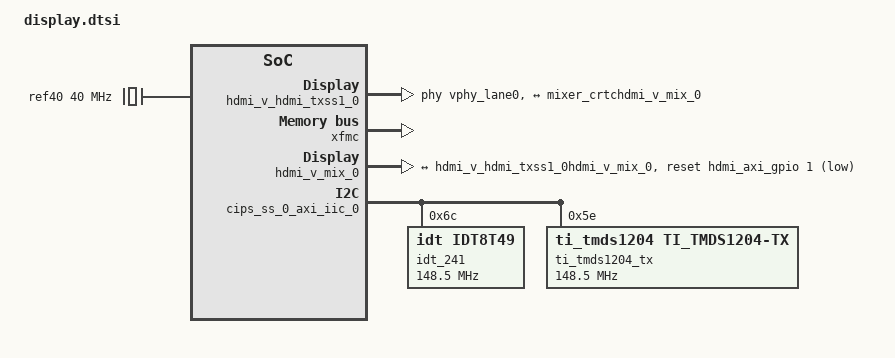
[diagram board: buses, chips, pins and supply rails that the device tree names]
&amba_pl {
	hdmiphy_ss_hdmi_gt_controller_0: hdmi_gt_controller@a4070000 {
		clock-names = "gt_refclk0_odiv2", "gt_refclk1_odiv2", "gt_refclk2_odiv2", "sb_aclk", "axi4lite_aclk", "apb_clk", "vid_phy_axi4lite_aclk", "drpclk", "tmds_clock", "link_clk";
		clocks = <&misc_clk_3>, <&misc_clk_3>, <&misc_clk_4>, <&versal_clk 65>, <&versal_clk 65>, <&versal_clk 65>, <&versal_clk 65>, <&versal_clk 65>, <&idt_241 1>, <&idt_241 1>;
		compatible = "xlnx,v-hdmi-gt-controller-1.0";
		interrupt-names = "irq";
		interrupt-parent = <&gic>;
		interrupts = <0 89 4>;
		reg = <0x0 0xa4070000 0x0 0x10000>;
		xlnx,err-irq-en = <0>;
		xlnx,gt-direction = <0x1>;
		xlnx,hdmi-fast-switch = <0>;
		xlnx,input-pixels-per-clock = <4>;
		xlnx,nidru = <1>;
		xlnx,nidru-refclk-sel = <2>;
		xlnx,hdmi-connector = <&xfmc>;
		xlnx,rx-frl-refclk-sel = <2>;
		xlnx,rx-no-of-channels = <4>;
		xlnx,rx-pll-selection = <8>;
		xlnx,rx-protocol = <2>;
		xlnx,rx-refclk-sel = <0>;
		xlnx,rx-max-gt-line-rate = <0xc>;
		xlnx,tx-max-gt-line-rate = <0xc>;
		xlnx,transceiver-type = <8>;
		xlnx,transceiver-width = <4>;
		xlnx,tx-buffer-bypass = <1>;
		xlnx,tx-frl-refclk-sel = <2>;
		xlnx,tx-no-of-channels = <4>;
		xlnx,tx-pll-selection = <7>;
		xlnx,tx-protocol = <2>;
		xlnx,tx-refclk-sel = <1>;
		xlnx,use-gt-ch4-hdmi = <1>;

		vphy_lane0: vphy_lane@0 {
			#phy-cells = <4>;
		};
		vphy_lane1: vphy_lane@1 {
			#phy-cells = <4>;
		};
		vphy_lane2: vphy_lane@2 {
			#phy-cells = <4>;
		};
		vphy_lane3: vphy_lane@3 {
			#phy-cells = <4>;
		};
	};

	hdmi_v_hdmi_txss1_0: v_hdmi_txss1@a4040000 {
		clock-names = "s_axi_cpu_aclk", "link_clk", "video_clk", "frl_clk", "s_axis_video_aclk";
		clocks = <&versal_clk 65>, <&misc_clk_1>, <&misc_clk_1>, <&misc_clk_2>, <&misc_clk_1>;
		compatible = "xlnx,v-hdmi-txss1-1.2";
		interrupt-names = "irq";
		interrupt-parent = <&gic>;
		interrupts = <0 88 4>;
		reg = <0x0 0xa4040000 0x0 0x20000>;
		xlnx,add-core-dbg = <0x0>;
		xlnx,add-mark-dbg = "false";
		xlnx,addr-width = <0xa>;
		xlnx,dsc-en = <0x0>;
		xlnx,dynamic-hdr = <0x0>;
		xlnx,exdes-axilite-freq = <0x64>;
		xlnx,exdes-nidru = "true";
		xlnx,exdes-rx-pll-selection = <0x0>;
		xlnx,exdes-topology = <0x0>;
		xlnx,exdes-tx-pll-selection = <0x1>;
		xlnx,frl-clk-freq-khz = <0x4f588>;
		xlnx,frl-sm-vcke = <0x0>;
		xlnx,hdmi-fb-enable = "false";
		xlnx,hdmi-version = <0x4>;
		xlnx,hpd-invert = "true";
		xlnx,hysteresis-level = <0x1ff>;
		xlnx,include-hdcp = "false";
		xlnx,include-hdcp-1-4 = "false";
		xlnx,include-hdcp-2-2 = "false";
		xlnx,include-low-reso-vid = "true";
		xlnx,include-yuv420-sup = "true";
		xlnx,input-pixels-per-clock = <0x4>;
		xlnx,max-bits-per-component = <0x8>;
		xlnx,max-frl-rate = <0x4>;
		xlnx,native-exdes-en = <0x0>;
		xlnx,num-of-gt-lane = <0x4>;
		xlnx,smartconnect-enable = "false";
		xlnx,validation-enable = "false";
		xlnx,vid-clk-freq-khz = <0x493e0>;
		xlnx,vid-interface = <0x0>;
		xlnx,video-mask-enable = <0x1>;
		xlnx,vrr-support = <0x1>;
		phy-names = "hdmi-phy0", "hdmi-phy1", "hdmi-phy2", "hdmi-phy3";
		phys = <&vphy_lane0 0 1 1 1>, <&vphy_lane1 0 1 1 1>, <&vphy_lane2 0 1 1 1>, <&vphy_lane3 0 1 1 1>;

		hdmitx_portshdmi_v_hdmi_txss1_0: ports {
			#size-cells = <0>;
			#address-cells = <1>;

			encoder_hdmi_porthdmi_v_hdmi_txss1_0: port@0 {
				reg = <0>;
				hdmi_v_hdmi_txss1_0hdmi_v_mix_0: endpoint {
					remote-endpoint = <&mixer_crtchdmi_v_mix_0>;
				};
			};
		};

		i2c-bus {
		};
	};

	xfmc:xv_fmc {
		compatible = "vfmc";
	};

	hdmi_axi_gpio: gpio@a4100000 {
		#gpio-cells = <2>;
		clock-names = "s_axi_aclk";
		clocks = <&misc_clk_1>;
		compatible = "xlnx,axi-gpio-2.0", "xlnx,xps-gpio-1.00.a";
		gpio-controller ;
		reg = <0x0 0xa4100000 0x0 0x10000>;
		xlnx,all-inputs = <0x0>;
		xlnx,all-inputs-2 = <0x0>;
		xlnx,all-outputs = <0x1>;
		xlnx,all-outputs-2 = <0x0>;
		xlnx,dout-default = <0x00000003>;
		xlnx,dout-default-2 = <0x00000000>;
		xlnx,gpio-width = <0x2>;
		xlnx,gpio2-width = <0x20>;
		xlnx,interrupt-present = <0x0>;
		xlnx,is-dual = <0x0>;
		xlnx,tri-default = <0xFFFFFFFF>;
		xlnx,tri-default-2 = <0xFFFFFFFF>;
	};

	hdmi_v_mix_0: v_mix@a4080000 {
		clock-names = "ap_clk";
		clocks = <&misc_clk_1>;
		compatible = "xlnx,v-mix-5.2", "xlnx,mixer-3.0", "xlnx,mixer-4.0", "xlnx,mixer-5.0";
		interrupt-names = "interrupt";
		interrupt-parent = <&gic>;
		interrupts = <0 86 4>;
		reg = <0x0 0xa4080000 0x0 0x10000>;
		reset-gpios = <&hdmi_axi_gpio 1 1>;
		xlnx,bpc = <8>;
		xlnx,dma-addr-width = <64>;
		xlnx,num-layers = <5>;
		xlnx,ppc = <4>;

		crtc_mixer_porthdmi_v_mix_0: port@0 {
			reg = <0>;
			mixer_crtchdmi_v_mix_0: endpoint {
				remote-endpoint = <&hdmi_v_hdmi_txss1_0hdmi_v_mix_0>;
			};
		};

		xx_mix_masterhdmi_v_mix_0: layer_0 {
			xlnx,layer-id = <0>;
			xlnx,layer-max-height = <2160>;
			xlnx,layer-max-width = <3840>;
			xlnx,vformat = "RG24";
			xlnx,layer-primary ;
		};

		xx_mix_overlay_1hdmi_v_mix_0: layer_1 {
			xlnx,layer-alpha ;
			xlnx,layer-id = <1>;
			xlnx,layer-max-width = <1920>;
			xlnx,vformat = "RG24";
		};

		xx_mix_overlay_2hdmi_v_mix_0: layer_2 {
			xlnx,layer-alpha ;
			xlnx,layer-id = <2>;
			xlnx,layer-max-width = <1920>;
			xlnx,vformat = "RG24";
		};

		xx_mix_overlay_3hdmi_v_mix_0: layer_3 {
			xlnx,layer-alpha ;
			xlnx,layer-id = <3>;
			xlnx,layer-max-width = <1920>;
			xlnx,vformat = "RG24";
		};

		xx_mix_overlay_4hdmi_v_mix_0: layer_4 {
			xlnx,layer-alpha ;
			xlnx,layer-id = <4>;
			xlnx,layer-max-width = <1920>;
			xlnx,vformat = "RG24";
		};

		xx_mix_logohdmi_v_mix_0: logo {
			xlnx,layer-id = <5>;
			xlnx,logo-height = <64>;
			xlnx,logo-width = <64>;
		};
	};


	ref40: ref40m {
		compatible = "fixed-clock";
		#clock-cells = <0>;
		clock-frequency = <40000000>;
	};

	cips_ss_0_axi_iic_0: i2c@a40c0000 {
		#address-cells = <1>;
		#size-cells = <0>;
		clock-names = "s_axi_aclk";
		clocks = <&versal_clk 65>;
		compatible = "xlnx,axi-iic-2.1", "xlnx,xps-iic-2.00.a";
		interrupt-names = "iic2intc_irpt";
		interrupt-parent = <&gic>;
		interrupts = <0 90 4>;
		reg = <0x0 0xa40c0000 0x0 0x10000>;

		idt_241: clock-generator@6c {
			compatible = "idt,idt8t49";
			#clock-cells = <1>;
			reg = <0x6c>;
			clocks = <&ref40>;
			clock-frequency = <148500000>;
			clock-names = "input-xtal";
		};
	
		ti_tmds1204_tx: ti_tmds1204-tx@5e {
			compatible = "ti_tmds1204,ti_tmds1204-tx";
			#clock-cells = <1>;
			reg = <0x5e>;
			clocks = <&ref40>;
			clock-frequency = <148500000>;
			clock-names = "input-xtal";
		};
	};
};
